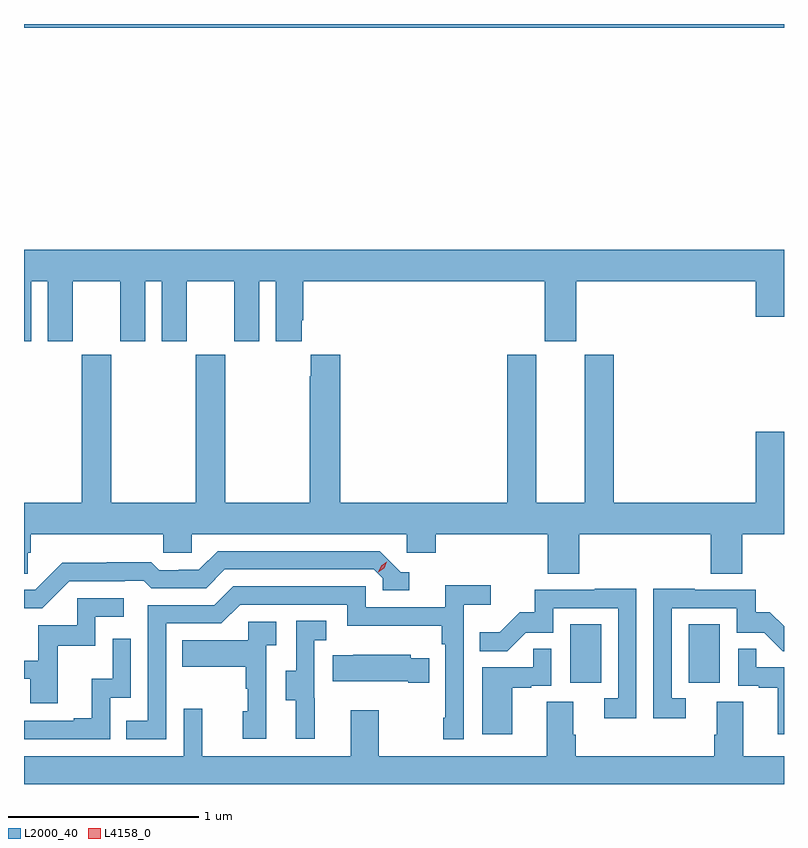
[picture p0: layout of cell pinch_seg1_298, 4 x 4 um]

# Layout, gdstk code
import gdstk
lib = gdstk.Library(unit=1e-6, precision=1e-09)
def R(c, l, rs):  # rectangles x0, y0, x1, y1
    for r in rs: c.add(gdstk.rectangle(r[:2], r[2:], *l))
def P(c, l, *ps):  # polygons
    for p in ps: c.add(gdstk.Polygon(p, *l))
L2000_40 = (2000, 40)
L4158_0 = (4158, 0)

pinch_seg1_298 = lib.new_cell('pinch_seg1_298')
R(pinch_seg1_298, L2000_40, [(931.262,550.95,931.426,551.257), (931.886,550.95,932.05,551.257), (928.388,554.396,932.388,554.417)])
P(pinch_seg1_298, L2000_40, [(928.426,553.064),(928.514,553.064),(928.514,552.747),(928.645,552.747),(928.645,553.064),(928.895,553.064),(928.895,552.747),(929.026,552.747),(929.026,553.064),(929.114,553.064),(929.114,552.747),(929.245,552.747),(929.245,553.064),(929.495,553.064),(929.495,552.747),(929.626,552.747),(929.626,553.064),(929.714,553.064),(929.714,552.747),(929.851,552.747),(929.851,552.859),(929.858,552.859),(929.858,553.064),(931.13,553.064),(931.13,552.747),(931.294,552.747),(931.294,553.064),(932.24,553.064),(932.24,552.876),(932.388,552.876),(932.388,553.228),(928.388,553.228),(928.388,552.747),(928.426,552.747)],
  [(930.402,551.634),(930.554,551.634),(930.554,551.732),(931.145,551.732),(931.145,551.524),(931.31,551.524),(931.31,551.732),(932.003,551.732),(932.003,551.524),(932.168,551.524),(932.168,551.732),(932.388,551.732),(932.388,552.271),(932.24,552.271),(932.24,551.896),(931.493,551.896),(931.493,552.675),(931.34,552.675),(931.34,551.896),(931.084,551.896),(931.084,552.675),(930.932,552.675),(930.932,551.896),(930.053,551.896),(930.053,552.676),(929.897,552.676),(929.897,552.563),(929.893,552.563),(929.893,551.896),(929.448,551.896),(929.448,552.676),(929.293,552.676),(929.293,551.896),(928.848,551.896),(928.848,552.676),(928.693,552.676),(928.693,551.896),(928.388,551.896),(928.388,551.524),(928.409,551.524),(928.409,551.634),(928.424,551.634),(928.424,551.732),(929.121,551.732),(929.121,551.634),(929.271,551.634),(929.271,551.732),(930.402,551.732)],
  [(928.626,551.484),(928.919,551.484),(928.919,551.487),(929.018,551.487),(929.057,551.448),(929.346,551.448),(929.445,551.547),(930.228,551.547),(930.276,551.499),(930.276,551.436),(930.415,551.436),(930.415,551.532),(930.372,551.532),(930.261,551.643),(929.408,551.643),(929.309,551.544),(929.202,551.544),(929.202,551.541),(929.099,551.541),(929.057,551.584),(928.824,551.584),(928.824,551.581),(928.588,551.581),(928.446,551.439),(928.388,551.439),(928.388,551.343),(928.485,551.343)],
  [(929.136,551.262),(929.427,551.262),(929.526,551.361),(930.09,551.361),(930.09,551.249),(930.586,551.249),(930.586,551.153),(930.606,551.153),(930.606,550.765),(930.594,550.765),(930.594,550.653),(930.702,550.653),(930.702,551.36),(930.844,551.36),(930.844,551.462),(930.605,551.462),(930.605,551.346),(930.186,551.346),(930.186,551.457),(929.489,551.457),(929.39,551.358),(929.04,551.358),(929.04,550.749),(928.927,550.749),(928.927,550.653),(929.136,550.653)],
  [(931.611,551.444),(931.393,551.444),(931.393,551.439),(931.075,551.439),(931.075,551.322),(930.998,551.322),(930.891,551.215),(930.787,551.215),(930.787,551.116),(930.931,551.116),(931.029,551.214),(931.173,551.214),(931.173,551.343),(931.515,551.343),(931.515,550.869),(931.443,550.869),(931.443,550.764),(931.611,550.764)],
  [(931.87,550.869),(931.797,550.869),(931.797,551.343),(932.139,551.343),(932.139,551.214),(932.283,551.214),(932.381,551.116),(932.388,551.116),(932.388,551.248),(932.314,551.322),(932.238,551.322),(932.238,551.439),(931.919,551.439),(931.919,551.444),(931.701,551.444),(931.701,550.764),(931.87,550.764)],
  [(928.565,551.145),(928.764,551.145),(928.764,551.298),(928.912,551.298),(928.912,551.394),(928.668,551.394),(928.668,551.253),(928.463,551.253),(928.463,551.067),(928.388,551.067),(928.388,550.971),(928.421,550.971),(928.421,550.842),(928.565,550.842)],
  [(929.918,550.869),(929.916,550.869),(929.916,551.173),(929.98,551.173),(929.98,551.276),(929.82,551.276),(929.82,551.013),(929.765,551.013),(929.765,550.858),(929.819,550.858),(929.819,550.656),(929.918,550.656)],
  [(929.664,551.147),(929.716,551.147),(929.716,551.271),(929.568,551.271),(929.568,551.173),(929.221,551.173),(929.221,551.033),(929.556,551.033),(929.556,550.919),(929.566,550.919),(929.566,550.8),(929.54,550.8),(929.54,550.656),(929.664,550.656)],
  [(928.842,550.872),(928.95,550.872),(928.95,551.182),(928.854,551.182),(928.854,550.97),(928.745,550.97),(928.745,550.762),(928.649,550.762),(928.649,550.749),(928.388,550.749),(928.388,550.653),(928.842,550.653)],
  [(932.388,551.031),(932.243,551.031),(932.243,551.129),(932.148,551.129),(932.148,550.935),(932.255,550.935),(932.255,550.923),(932.354,550.923),(932.354,550.68),(932.388,550.68)],
  [(930.958,550.923),(931.058,550.923),(931.058,550.935),(931.164,550.935),(931.164,551.129),(931.069,551.129),(931.069,551.031),(930.8,551.031),(930.8,550.68),(930.958,550.68)],
  [(930.521,551.08),(930.423,551.08),(930.423,551.098),(930.121,551.098),(930.121,551.095),(930.013,551.095),(930.013,550.958),(930.41,550.958),(930.41,550.951),(930.521,550.951)],
  [(932.388,550.564),(932.173,550.564),(932.173,550.85),(932.033,550.85),(932.033,550.676),(932.021,550.676),(932.021,550.564),(931.292,550.564),(931.292,550.676),(931.279,550.676),(931.279,550.85),(931.139,550.85),(931.139,550.564),(930.255,550.564),(930.255,550.804),(930.107,550.804),(930.107,550.564),(929.327,550.564),(929.327,550.813),(929.229,550.813),(929.229,550.564),(928.388,550.564),(928.388,550.417),(932.388,550.417)])
P(pinch_seg1_298, L4158_0, [(930.252,551.532),(930.252,551.533),(930.267,551.566),(930.298,551.586),(930.298,551.586),(930.298,551.586),(930.283,551.553),(930.252,551.532)])

lib.write_gds('pinch_seg1_298.gds')
